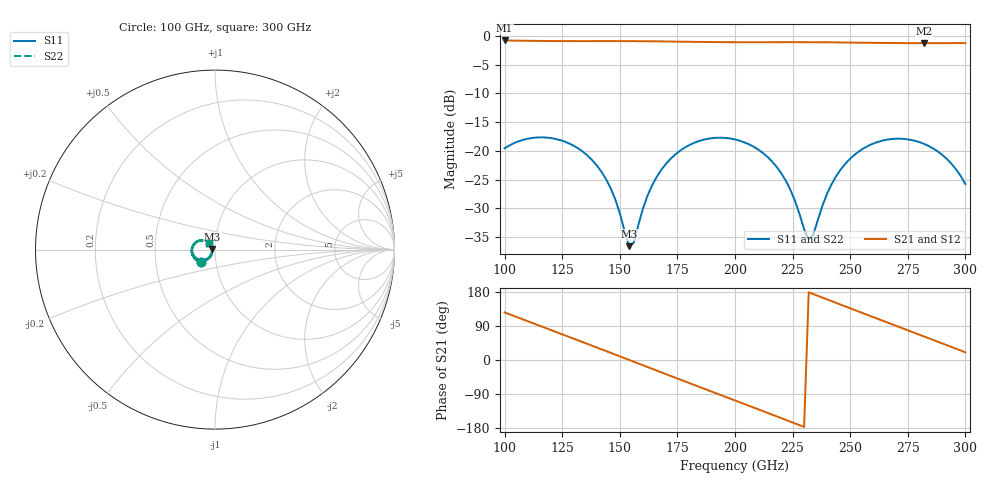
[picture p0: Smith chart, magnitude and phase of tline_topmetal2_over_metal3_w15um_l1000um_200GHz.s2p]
#  GHZ S DB R 50
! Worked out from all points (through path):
!   101 points, 100 GHz to 300 GHz, reference 50 ohm
!   highest |S21| = -0.81 dB at 100 GHz (marker M1); lowest = -1.3 dB at 282 GHz (marker M2)
!   group delay of S21, straight-line fit = 6.47 ps
!   lowest |S11| = -36.6 dB at 154 GHz (marker M3), VSWR 1.03, Z = 48.6 + j0.221 ohm
!   |S11| at or under -10 dB: start of sweep to end of sweep
!   |S22| runs from -36.6 to -17.7 dB; largest |S21 - S12| = 1e-13
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100  -19.56 -139.4  -0.81 125.6  -0.81 125.6  -19.55 -139.5
116  -17.66 -173.5  -0.90 88.6  -0.90 88.6  -17.65 -173.5
124  -18.13 169.6  -0.92 70.1  -0.92 70.1  -18.12 169.6
134  -20.17 149.4  -0.92 47.0  -0.92 47.0  -20.16 149.4
146  -26.48 131.7  -0.92 19.1  -0.92 19.1  -26.47 131.7
154  -36.58 171.2  -0.93 0.3  -0.93 0.3  -36.65 171.1
156  -36.01 -153.0  -0.93 -4.4  -0.93 -4.4  -36.08 -152.8
162  -27.84 -122.4  -0.95 -18.5  -0.95 -18.5  -27.85 -122.1
168  -23.31 -127.2  -0.98 -32.5  -0.98 -32.5  -23.31 -127.0
184  -18.35 -156.9  -1.06 -69.8  -1.06 -69.8  -18.35 -156.6
200  -18.02 170.4  -1.11 -106.8  -1.11 -106.8  -18.02 170.6
218  -22.75 137.3  -1.11 -148.5  -1.11 -148.5  -22.75 137.4
224  -26.74 132.1  -1.11 -162.5  -1.11 -162.5  -26.74 132.2
232  -35.49 176.5  -1.12 178.7  -1.12 178.7  -35.56 176.8
234  -34.55 -154.3  -1.12 174.0  -1.12 174.0  -34.60 -153.8
240  -27.43 -127.6  -1.14 159.9  -1.14 159.9  -27.43 -127.2
248  -22.20 -134.4  -1.17 141.1  -1.17 141.1  -22.20 -134.1
258  -19.10 -152.2  -1.22 117.8  -1.22 117.8  -19.09 -151.9
268  -17.95 -171.9  -1.26 94.6  -1.26 94.6  -17.95 -171.7
282  -18.78 160.4  -1.28 62.2  -1.28 62.2  -18.79 160.4
292  -21.44 142.7  -1.27 39.0  -1.27 39.0  -21.46 142.2
300  -25.77 134.2  -1.27 20.2  -1.27 20.2  -25.88 133.0
